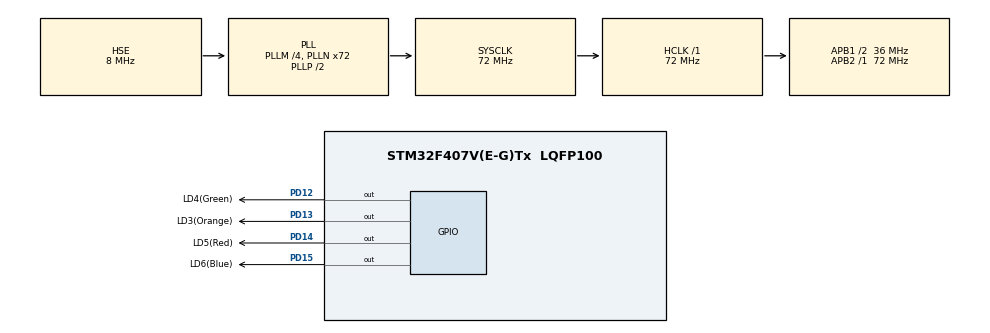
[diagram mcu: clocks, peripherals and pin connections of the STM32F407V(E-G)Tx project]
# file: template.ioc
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Mcu.Family=STM32F4
Mcu.Name=STM32F407V(E-G)Tx
Mcu.Package=LQFP100
NVIC.PriorityGroup=NVIC_PRIORITYGROUP_4
PD12.GPIO_Label=LD4(Green)
PD12.GPIO_Speed=GPIO_SPEED_FREQ_VERY_HIGH
PD12.Signal=GPIO_Output
PD13.GPIO_Label=LD3(Orange)
PD13.GPIO_Speed=GPIO_SPEED_FREQ_VERY_HIGH
PD13.Signal=GPIO_Output
PD14.GPIO_Label=LD5(Red)
PD14.GPIO_Speed=GPIO_SPEED_FREQ_VERY_HIGH
PD14.Signal=GPIO_Output
PD15.GPIO_Label=LD6(Blue)
PD15.GPIO_Speed=GPIO_SPEED_FREQ_VERY_HIGH
PD15.Signal=GPIO_Output
PH0-OSC_IN.Mode=HSE-External-Oscillator
PH0-OSC_IN.Signal=RCC_OSC_IN
PH1-OSC_OUT.Mode=HSE-External-Oscillator
PH1-OSC_OUT.Signal=RCC_OSC_OUT
ProjectManager.HeapSize=0x200
ProjectManager.StackSize=0x400
ProjectManager.TargetToolchain=Makefile
RCC.48MHZClocksFreq_Value=36000000
RCC.AHBFreq_Value=72000000
RCC.APB1CLKDivider=RCC_HCLK_DIV2
RCC.APB1Freq_Value=36000000
RCC.APB1TimFreq_Value=72000000
RCC.APB2Freq_Value=72000000
RCC.APB2TimFreq_Value=72000000
RCC.CortexFreq_Value=72000000
RCC.HCLKFreq_Value=72000000
RCC.HSE_VALUE=8000000
RCC.HSI_VALUE=16000000
RCC.LSE_VALUE=32768
RCC.PLLM=4
RCC.PLLN=72
RCC.PLLSourceVirtual=RCC_PLLSOURCE_HSE
RCC.SYSCLKFreq_VALUE=72000000
RCC.SYSCLKSource=RCC_SYSCLKSOURCE_PLLCLK
RCC.VCOOutputFreq_Value=144000000
board=custom

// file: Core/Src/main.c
/* USER CODE BEGIN Header */
/**
 ******************************************************************************
 * @file           : main.c
 * @brief          : Main program body
 ******************************************************************************
 * @attention
 *
 * Copyright (c) 2026 STMicroelectronics.
 * All rights reserved.
 *
 * This software is licensed under terms that can be found in the LICENSE file
 * in the root directory of this software component.
 * If no LICENSE file comes with this software, it is provided AS-IS.
 *
 ******************************************************************************
 */
/* USER CODE END Header */
#include "main.h"
#include "gpio.h"

void SystemClock_Config(void);

void SystemClock_Config(void) {
  RCC_OscInitTypeDef RCC_OscInitStruct = {0};
  RCC_ClkInitTypeDef RCC_ClkInitStruct = {0};

  /** Configure the main internal regulator output voltage
   */
  __HAL_RCC_PWR_CLK_ENABLE();
  __HAL_PWR_VOLTAGESCALING_CONFIG(PWR_REGULATOR_VOLTAGE_SCALE1);

  /** Initializes the RCC Oscillators according to the specified parameters
   * in the RCC_OscInitTypeDef structure.
   */
  RCC_OscInitStruct.OscillatorType = RCC_OSCILLATORTYPE_HSE;
  RCC_OscInitStruct.HSEState = RCC_HSE_ON;
  RCC_OscInitStruct.PLL.PLLState = RCC_PLL_ON;
  RCC_OscInitStruct.PLL.PLLSource = RCC_PLLSOURCE_HSE;
  RCC_OscInitStruct.PLL.PLLM = 4;
  RCC_OscInitStruct.PLL.PLLN = 72;
  RCC_OscInitStruct.PLL.PLLP = RCC_PLLP_DIV2;
  RCC_OscInitStruct.PLL.PLLQ = 4;
  if (HAL_RCC_OscConfig(&RCC_OscInitStruct) != HAL_OK) {
    Error_Handler();
  }

  /** Initializes the CPU, AHB and APB buses clocks
   */
  RCC_ClkInitStruct.ClockType = RCC_CLOCKTYPE_HCLK | RCC_CLOCKTYPE_SYSCLK |
                                RCC_CLOCKTYPE_PCLK1 | RCC_CLOCKTYPE_PCLK2;
  RCC_ClkInitStruct.SYSCLKSource = RCC_SYSCLKSOURCE_PLLCLK;
  RCC_ClkInitStruct.AHBCLKDivider = RCC_SYSCLK_DIV1;
  RCC_ClkInitStruct.APB1CLKDivider = RCC_HCLK_DIV2;
  RCC_ClkInitStruct.APB2CLKDivider = RCC_HCLK_DIV1;

  if (HAL_RCC_ClockConfig(&RCC_ClkInitStruct, FLASH_LATENCY_2) != HAL_OK) {
    Error_Handler();
  }
}

/* USER CODE BEGIN 4 */

int main(void) {
  HAL_Init();
  SystemClock_Config();
  MX_GPIO_Init();
  while (1) {
    for (uint32_t i = 0; i < 1000000; ++i)
      ;
    gpio_led_state(LED3_ORANGE_ID, 1); // turn on
    gpio_led_state(LED4_GREEN_ID, 1);  // turn on
    gpio_led_state(LED5_RED_ID, 0);    // turn off
    gpio_led_state(LED6_BLUE_ID, 0);   // turn off

    for (uint32_t i = 0; i < 1000000; ++i)
      ;
    gpio_led_state(LED3_ORANGE_ID, 0); // turn off
    gpio_led_state(LED4_GREEN_ID, 0);  // turn off
    gpio_led_state(LED5_RED_ID, 1);    // turn on
    gpio_led_state(LED6_BLUE_ID, 1);   // turn on
  };
}

/* USER CODE END 4 */

void Error_Handler(void) {
  __disable_irq();
  while (1) {
  }
}
#ifdef USE_FULL_ASSERT
/**
 * @brief  Reports the name of the source file and the source line number
 *         where the assert_param error has occurred.
 * @param  file: pointer to the source file name
 * @param  line: assert_param error line source number
 * @retval None
 */
void assert_failed(uint8_t *file, uint32_t line) {
  /* USER CODE BEGIN 6 */
  /* User can add his own implementation to report the file name and line
     number, ex: printf("Wrong parameters value: file %s on line %d\r\n", file,
     line) */
  /* USER CODE END 6 */
}
#endif /* USE_FULL_ASSERT */
